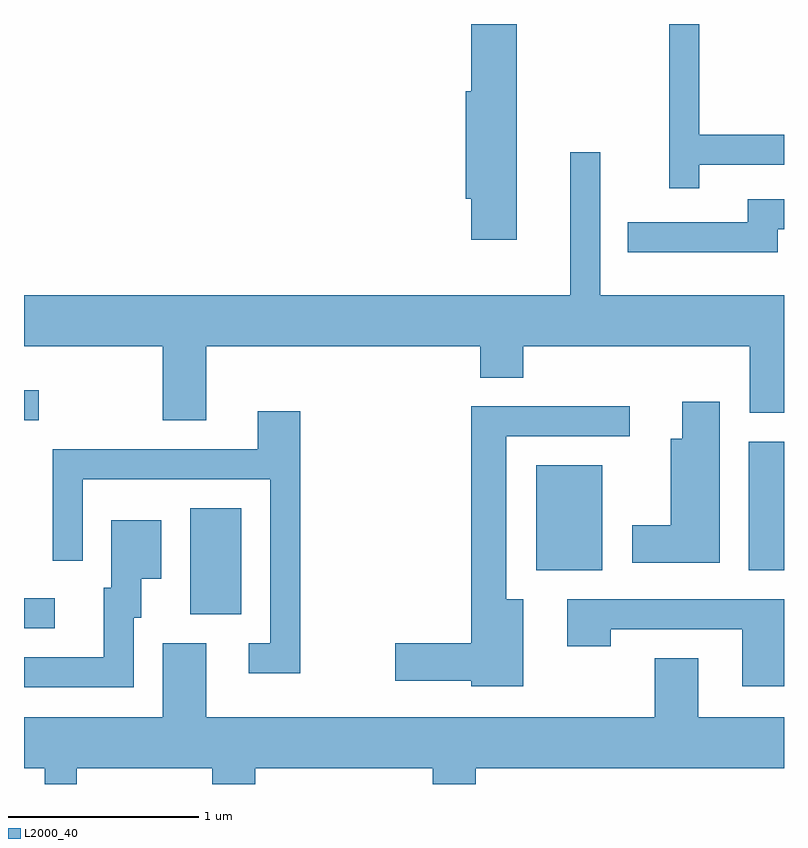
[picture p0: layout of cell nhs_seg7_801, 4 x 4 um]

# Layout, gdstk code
import gdstk
lib = gdstk.Library(unit=1e-6, precision=1e-09)
def R(c, l, rs):  # rectangles x0, y0, x1, y1
    for r in rs: c.add(gdstk.rectangle(r[:2], r[2:], *l))
def P(c, l, *ps):  # polygons
    for p in ps: c.add(gdstk.Polygon(p, *l))
L2000_40 = (2000, 40)

nhs_seg7_801 = lib.new_cell('nhs_seg7_801')
R(nhs_seg7_801, L2000_40, [(209.611,1695.071,209.773,1695.229), (210.486,1695.146,210.754,1695.704), (212.306,1695.376,212.654,1695.929), (213.426,1695.376,213.611,1696.054), (209.611,1696.166,209.688,1696.324)])
P(nhs_seg7_801, L2000_40, [(212.204,1698.252),(211.966,1698.252),(211.966,1697.899),(211.936,1697.899),(211.936,1697.331),(211.966,1697.331),(211.966,1697.116),(212.204,1697.116)],
  [(213.164,1697.511),(213.611,1697.511),(213.611,1697.669),(213.164,1697.669),(213.164,1698.252),(213.006,1698.252),(213.006,1697.388),(213.164,1697.388)],
  [(210.569,1696.556),(212.011,1696.556),(212.011,1696.391),(212.239,1696.391),(212.239,1696.556),(213.431,1696.556),(213.431,1696.206),(213.611,1696.206),(213.611,1696.824),(212.644,1696.824),(212.644,1697.578),(212.486,1697.578),(212.486,1696.824),(209.611,1696.824),(209.611,1696.556),(210.341,1696.556),(210.341,1696.166),(210.569,1696.166)],
  [(213.579,1697.171),(213.611,1697.171),(213.611,1697.329),(213.421,1697.329),(213.421,1697.209),(212.788,1697.209),(212.788,1697.051),(213.579,1697.051)],
  [(213.274,1696.264),(213.076,1696.264),(213.076,1696.069),(213.016,1696.069),(213.016,1695.614),(212.811,1695.614),(212.811,1695.416),(213.274,1695.416)],
  [(212.239,1695.224),(212.149,1695.224),(212.149,1696.081),(212.798,1696.081),(212.798,1696.239),(211.966,1696.239),(211.966,1694.994),(211.566,1694.994),(211.566,1694.796),(211.966,1694.796),(211.966,1694.766),(212.239,1694.766)],
  [(211.064,1696.214),(210.841,1696.214),(210.841,1696.014),(209.761,1696.014),(209.761,1695.428),(209.919,1695.428),(209.919,1695.856),(210.906,1695.856),(210.906,1694.994),(210.793,1694.994),(210.793,1694.836),(211.064,1694.836)],
  [(210.189,1695.126),(210.229,1695.126),(210.229,1695.331),(210.334,1695.331),(210.334,1695.639),(210.071,1695.639),(210.071,1695.284),(210.031,1695.284),(210.031,1694.919),(209.611,1694.919),(209.611,1694.761),(210.189,1694.761)],
  [(213.611,1695.224),(212.471,1695.224),(212.471,1694.976),(212.699,1694.976),(212.699,1695.066),(213.391,1695.066),(213.391,1694.766),(213.611,1694.766)],
  [(209.889,1694.336),(210.601,1694.336),(210.601,1694.252),(210.829,1694.252),(210.829,1694.336),(211.761,1694.336),(211.761,1694.252),(211.989,1694.252),(211.989,1694.336),(213.611,1694.336),(213.611,1694.604),(213.159,1694.604),(213.159,1694.914),(212.931,1694.914),(212.931,1694.604),(210.569,1694.604),(210.569,1694.994),(210.341,1694.994),(210.341,1694.604),(209.611,1694.604),(209.611,1694.336),(209.721,1694.336),(209.721,1694.252),(209.889,1694.252)])

lib.write_gds('nhs_seg7_801.gds')
